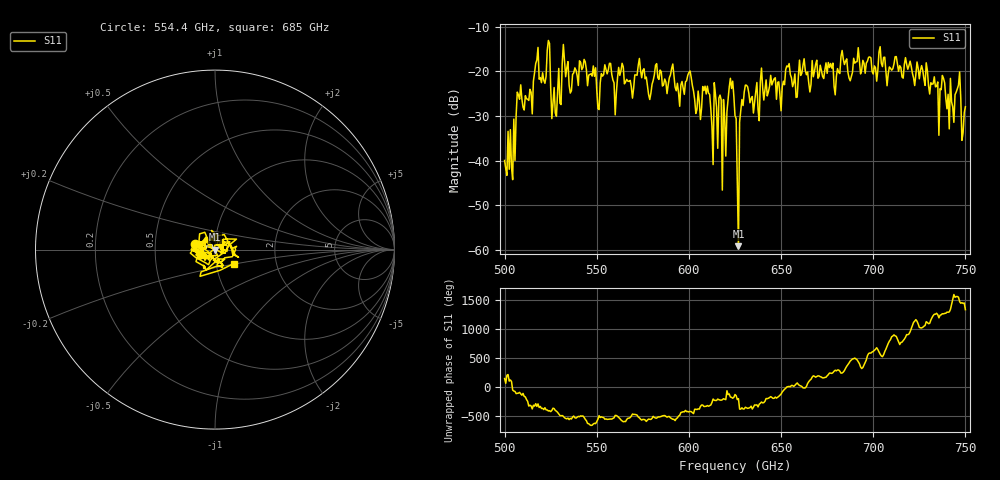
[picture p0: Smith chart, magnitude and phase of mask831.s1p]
!Created with skrf (http://scikit-rf.org).
# GHz S MA R 50.0
!freq magS11 angS11
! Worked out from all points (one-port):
!   401 points, 500 GHz to 750 GHz, reference 50 ohm
!   lowest |S11| = -59.1 dB at 626.9 GHz (marker M1), VSWR 1.00, Z = 49.9 + j0.0411 ohm
!   |S11| at or under -10 dB: start of sweep to end of sweep
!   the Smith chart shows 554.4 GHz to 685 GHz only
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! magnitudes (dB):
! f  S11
! 500 GHz  -40.0
! 505 GHz  -30.7
! 507.5 GHz  -25.3
! 513.8 GHz  -24.0
! 516.9 GHz  -18.3
! 523.8 GHz  -13.1
! 526.9 GHz  -23.6
! 531.2 GHz  -18.3
! 542.5 GHz  -19.2
! 551.2 GHz  -28.6
! 562.5 GHz  -20.9
! 593.8 GHz  -22.7
! 608.8 GHz  -23.3
! 619.4 GHz  -30.2
! 623.1 GHz  -23.9
! 625 GHz  -30.0
! 625.6 GHz  -30.6
! 626.9 GHz  -59.1
! 628.8 GHz  -26.3
! 631.2 GHz  -23.1
! 656.2 GHz  -23.5
! 680 GHz  -21.1
! 683.8 GHz  -17.3
! 687.5 GHz  -22.1
! 718.8 GHz  -19.6
! 742.5 GHz  -26.9
! 746.2 GHz  -23.1
! 750 GHz  -28.0
